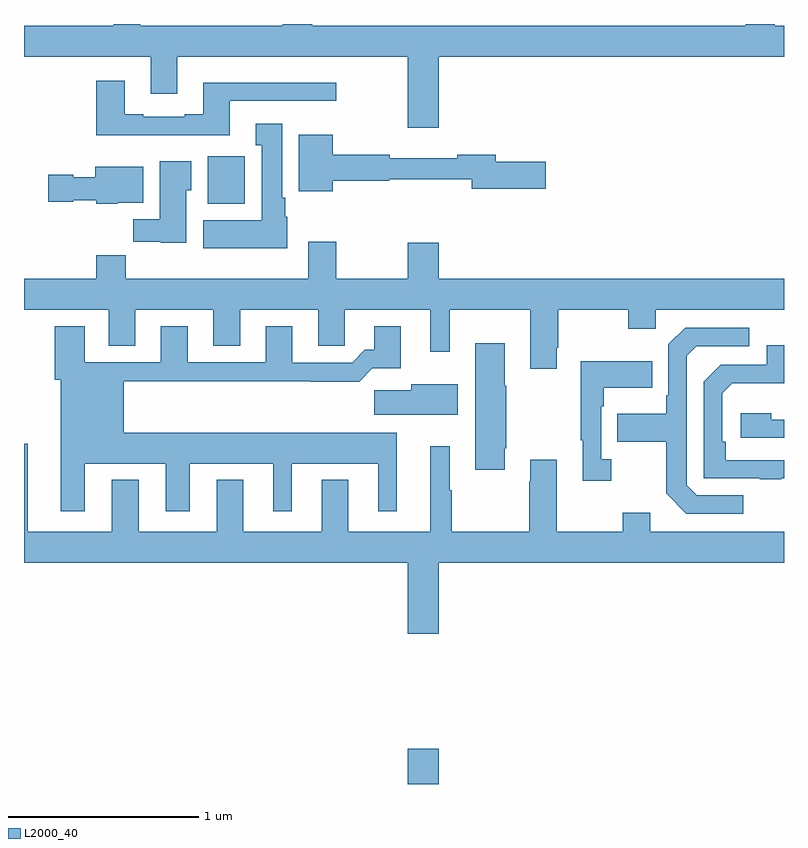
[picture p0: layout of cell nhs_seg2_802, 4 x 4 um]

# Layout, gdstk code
import gdstk
lib = gdstk.Library(unit=1e-6, precision=1e-09)
def R(c, l, rs):  # rectangles x0, y0, x1, y1
    for r in rs: c.add(gdstk.rectangle(r[:2], r[2:], *l))
def P(c, l, *ps):  # polygons
    for p in ps: c.add(gdstk.Polygon(p, *l))
L2000_40 = (2000, 40)

nhs_seg2_802 = lib.new_cell('nhs_seg2_802')
R(nhs_seg2_802, L2000_40, [(153.02,651.8,153.184,651.985), (151.967,654.854,152.163,655.105)])
P(nhs_seg2_802, L2000_40, [(153.184,655.628),(155,655.628),(155,655.792),(154.951,655.792),(154.951,655.8),(154.799,655.8),(154.799,655.792),(152.516,655.792),(152.516,655.8),(152.363,655.8),(152.363,655.792),(151.611,655.792),(151.611,655.8),(151.473,655.8),(151.473,655.792),(151,655.792),(151,655.628),(151.667,655.628),(151.667,655.434),(151.807,655.434),(151.807,655.628),(153.02,655.628),(153.02,655.254),(153.184,655.254)],
  [(152.083,655.395),(152.644,655.395),(152.644,655.492),(151.943,655.492),(151.943,655.324),(151.847,655.324),(151.847,655.311),(151.627,655.311),(151.627,655.324),(151.531,655.324),(151.531,655.501),(151.379,655.501),(151.379,655.214),(152.083,655.214)],
  [(152.386,654.786),(152.374,654.786),(152.374,654.886),(152.359,654.886),(152.359,655.276),(152.219,655.276),(152.219,655.163),(152.252,655.163),(152.252,654.766),(151.943,654.766),(151.943,654.62),(152.386,654.62)],
  [(152.626,654.976),(152.922,654.976),(152.922,654.984),(153.356,654.984),(153.356,654.934),(153.745,654.934),(153.745,655.076),(153.484,655.076),(153.484,655.112),(153.28,655.112),(153.28,655.093),(152.924,655.093),(152.924,655.112),(152.626,655.112),(152.626,655.216),(152.447,655.216),(152.447,654.92),(152.626,654.92)],
  [(151.855,654.924),(151.879,654.924),(151.879,655.078),(151.715,655.078),(151.715,654.772),(151.576,654.772),(151.576,654.654),(151.719,654.654),(151.719,654.65),(151.855,654.65)],
  [(151.494,654.86),(151.627,654.86),(151.627,655.048),(151.376,655.048),(151.376,654.994),(151.26,654.994),(151.26,655.007),(151.128,655.007),(151.128,654.865),(151.26,654.865),(151.26,654.872),(151.38,654.872),(151.38,654.854),(151.494,654.854)],
  [(153.805,654.097),(153.813,654.097),(153.813,654.296),(154.18,654.296),(154.18,654.197),(154.326,654.197),(154.326,654.296),(155,654.296),(155,654.46),(153.184,654.46),(153.184,654.649),(153.02,654.649),(153.02,654.46),(152.643,654.46),(152.643,654.655),(152.495,654.655),(152.495,654.46),(151.535,654.46),(151.535,654.584),(151.379,654.584),(151.379,654.46),(151,654.46),(151,654.296),(151.445,654.296),(151.445,654.106),(151.585,654.106),(151.585,654.296),(151.997,654.296),(151.997,654.106),(152.137,654.106),(152.137,654.296),(152.549,654.296),(152.549,654.106),(152.688,654.106),(152.688,654.296),(153.137,654.296),(153.137,654.075),(153.241,654.075),(153.241,654.296),(153.665,654.296),(153.665,653.985),(153.805,653.985)],
  [(151.321,653.486),(151.745,653.486),(151.745,653.235),(151.873,653.235),(151.873,653.486),(152.312,653.486),(152.312,653.235),(152.41,653.235),(152.41,653.486),(152.864,653.486),(152.864,653.235),(152.962,653.235),(152.962,653.65),(151.525,653.65),(151.525,653.92),(152.509,653.92),(152.509,653.918),(152.765,653.918),(152.834,653.987),(152.983,653.987),(152.983,654.208),(152.843,654.208),(152.843,654.085),(152.794,654.085),(152.727,654.018),(152.413,654.018),(152.413,654.208),(152.273,654.208),(152.273,654.021),(151.861,654.021),(151.861,654.208),(151.721,654.208),(151.721,654.021),(151.321,654.021),(151.321,654.208),(151.162,654.208),(151.162,653.928),(151.193,653.928),(151.193,653.235),(151.321,653.235)],
  [(154.786,653.319),(154.542,653.319),(154.488,653.373),(154.488,654.054),(154.539,654.105),(154.816,654.105),(154.816,654.201),(154.479,654.201),(154.392,654.114),(154.392,653.845),(154.38,653.845),(154.38,653.749),(154.123,653.749),(154.123,653.602),(154.38,653.602),(154.38,653.329),(154.485,653.223),(154.786,653.223)],
  [(153.529,653.566),(153.537,653.566),(153.537,653.897),(153.529,653.897),(153.529,654.121),(153.374,654.121),(153.374,653.454),(153.529,653.454)],
  [(154.985,653.409),(155,653.409),(155,653.505),(154.694,653.505),(154.694,653.602),(154.674,653.602),(154.674,653.856),(154.727,653.909),(155,653.909),(155,654.108),(154.908,654.108),(154.908,654.006),(154.668,654.006),(154.578,653.916),(154.578,653.409),(154.873,653.409),(154.873,653.404),(154.985,653.404)],
  [(154.09,653.51),(154.038,653.51),(154.038,653.789),(154.051,653.789),(154.051,653.885),(154.307,653.885),(154.307,654.025),(153.93,654.025),(153.93,653.609),(153.941,653.609),(153.941,653.397),(154.09,653.397)],
  [(153.283,653.905),(153.038,653.905),(153.038,653.873),(152.844,653.873),(152.844,653.744),(153.283,653.744)],
  [(155,653.718),(154.934,653.718),(154.934,653.752),(154.773,653.752),(154.773,653.622),(155,653.622)],
  [(153.184,652.964),(155,652.964),(155,653.128),(154.297,653.128),(154.297,653.227),(154.15,653.227),(154.15,653.128),(153.805,653.128),(153.805,653.506),(153.665,653.506),(153.665,653.393),(153.658,653.393),(153.658,653.128),(153.251,653.128),(153.251,653.345),(153.241,653.345),(153.241,653.578),(153.137,653.578),(153.137,653.128),(152.707,653.128),(152.707,653.401),(152.567,653.401),(152.567,653.128),(152.155,653.128),(152.155,653.401),(152.015,653.401),(152.015,653.128),(151.603,653.128),(151.603,653.401),(151.463,653.401),(151.463,653.128),(151.021,653.128),(151.021,653.59),(151,653.59),(151,652.964),(153.02,652.964),(153.02,652.59),(153.184,652.59)])

lib.write_gds('nhs_seg2_802.gds')
